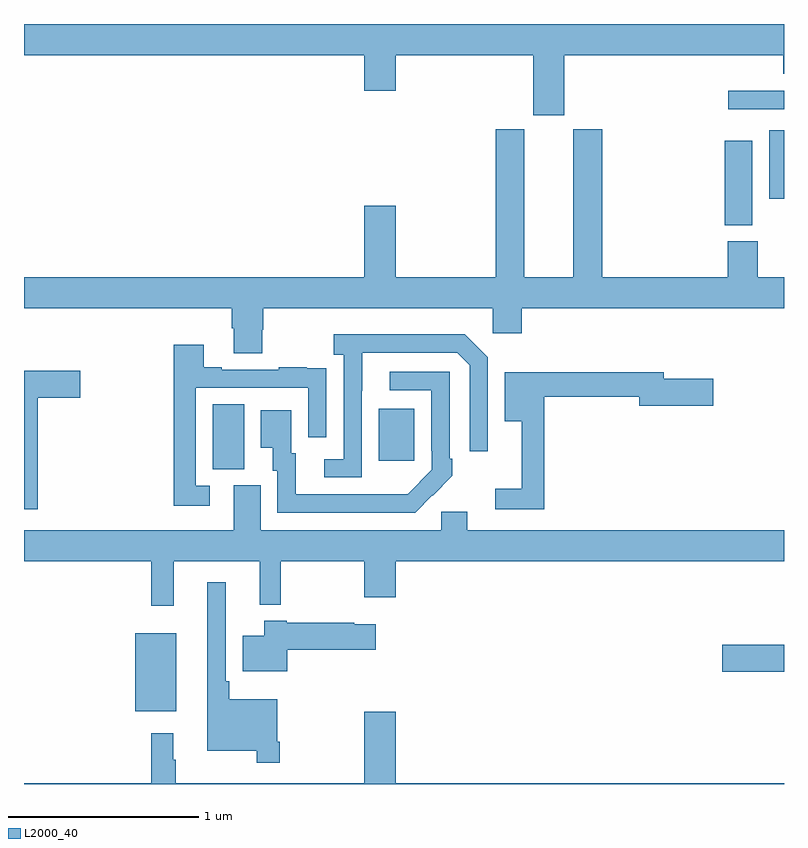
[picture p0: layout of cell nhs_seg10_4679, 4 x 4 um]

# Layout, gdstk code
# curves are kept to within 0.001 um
import gdstk
lib = gdstk.Library(unit=1e-6, precision=1e-09)
def R(c, l, rs):  # rectangles x0, y0, x1, y1
    for r in rs: c.add(gdstk.rectangle(r[:2], r[2:], *l))
def P(c, l, *ps):  # polygons
    for p in ps: c.add(gdstk.Polygon(p, *l))
L2000_40 = (2000, 40)

nhs_seg10_4679 = lib.new_cell('nhs_seg10_4679')
R(nhs_seg10_4679, L2000_40, [(379.586,1276.883,379.801,1277.293), (382.674,1277.09,383,1277.232), (379.994,1278.157,380.158,1278.5), (380.867,1278.201,381.055,1278.475), (382.688,1279.441,382.834,1279.885), (382.922,1279.58,383,1279.942), (382.707,1280.052,383,1280.148)])
P(nhs_seg10_4679, L2000_40, [(382.997,1280.237),(383,1280.237),(383,1280.5),(379,1280.5),(379,1280.336),(380.792,1280.336),(380.792,1280.148),(380.956,1280.148),(380.956,1280.336),(381.68,1280.336),(381.68,1280.019),(381.844,1280.019),(381.844,1280.336),(382.997,1280.336)],
  [(380.253,1278.891),(380.258,1278.891),(380.258,1279.004),(381.468,1279.004),(381.468,1278.873),(381.62,1278.873),(381.62,1279.004),(383,1279.004),(383,1279.168),(382.863,1279.168),(382.863,1279.356),(382.703,1279.356),(382.703,1279.168),(382.043,1279.168),(382.043,1279.947),(381.89,1279.947),(381.89,1279.168),(381.634,1279.168),(381.634,1279.947),(381.482,1279.947),(381.482,1279.168),(380.956,1279.168),(380.956,1279.543),(380.792,1279.543),(380.792,1279.168),(379,1279.168),(379,1279.004),(380.093,1279.004),(380.093,1278.898),(380.105,1278.898),(380.105,1278.766),(380.253,1278.766)],
  [(380.778,1278.571),(380.779,1278.771),(381.279,1278.771),(381.345,1278.705),(381.345,1278.252),(381.441,1278.252),(381.441,1278.747),(381.32,1278.868),(380.631,1278.868),(380.631,1278.758),(380.682,1278.758),(380.682,1278.21),(380.58,1278.21),(380.58,1278.114),(380.778,1278.114)],
  [(379.978,1278.069),(379.905,1278.069),(379.905,1278.585),(380.496,1278.585),(380.496,1278.324),(380.592,1278.324),(380.592,1278.578),(380.591,1278.578),(380.591,1278.687),(380.489,1278.687),(380.489,1278.694),(380.341,1278.694),(380.341,1278.681),(380.041,1278.681),(380.041,1278.694),(379.945,1278.694),(379.945,1278.811),(379.789,1278.811),(379.789,1277.964),(379.978,1277.964)],
  [(379.073,1278.533),(379.297,1278.533),(379.297,1278.675),(379,1278.675),(379,1277.946),(379.073,1277.946)],
  [(381.149,1278.019),(381.15,1278.018),(381.255,1278.123),(381.255,1278.211),(381.24,1278.211),(381.24,1278.669),(380.925,1278.669),(380.925,1278.573),(381.144,1278.573),(381.144,1278.253),(381.147,1278.253),(381.147,1278.153),(381.019,1278.025),(380.431,1278.024),(380.431,1278.24),(380.407,1278.24),(380.407,1278.466),(380.246,1278.466),(380.246,1278.269),(380.309,1278.269),(380.309,1278.15),(380.334,1278.15),(380.334,1277.928),(381.058,1277.928)],
  [(381.737,1278.538),(382.238,1278.538),(382.238,1278.491),(382.627,1278.491),(382.627,1278.633),(382.366,1278.633),(382.366,1278.667),(381.53,1278.667),(381.53,1278.41),(381.62,1278.41),(381.62,1278.055),(381.48,1278.055),(381.48,1277.946),(381.737,1277.946)],
  [(380.105,1277.836),(379,1277.836),(379,1277.672),(379.669,1277.672),(379.669,1277.439),(379.787,1277.439),(379.787,1277.672),(380.24,1277.672),(380.24,1277.444),(380.35,1277.444),(380.35,1277.672),(380.792,1277.672),(380.792,1277.484),(380.956,1277.484),(380.956,1277.672),(383,1277.672),(383,1277.836),(381.334,1277.836),(381.334,1277.934),(381.195,1277.934),(381.195,1277.836),(380.245,1277.836),(380.245,1278.072),(380.105,1278.072)],
  [(380.347,1276.723),(380.334,1276.723),(380.334,1276.945),(380.081,1276.945),(380.081,1277.041),(380.061,1277.041),(380.061,1277.563),(379.964,1277.563),(379.964,1276.676),(380.226,1276.676),(380.226,1276.611),(380.347,1276.611)],
  [(380.386,1277.207),(380.851,1277.207),(380.851,1277.341),(380.738,1277.341),(380.738,1277.349),(380.382,1277.349),(380.382,1277.359),(380.264,1277.359),(380.264,1277.281),(380.15,1277.281),(380.15,1277.093),(380.386,1277.093)],
  [(383,1276.504),(380.956,1276.504),(380.956,1276.879),(380.792,1276.879),(380.792,1276.504),(379.798,1276.504),(379.798,1276.628),(379.786,1276.628),(379.786,1276.768),(379.669,1276.768),(379.669,1276.504),(379,1276.504),(379,1276.5),(383,1276.5)])

lib.write_gds('nhs_seg10_4679.gds')
